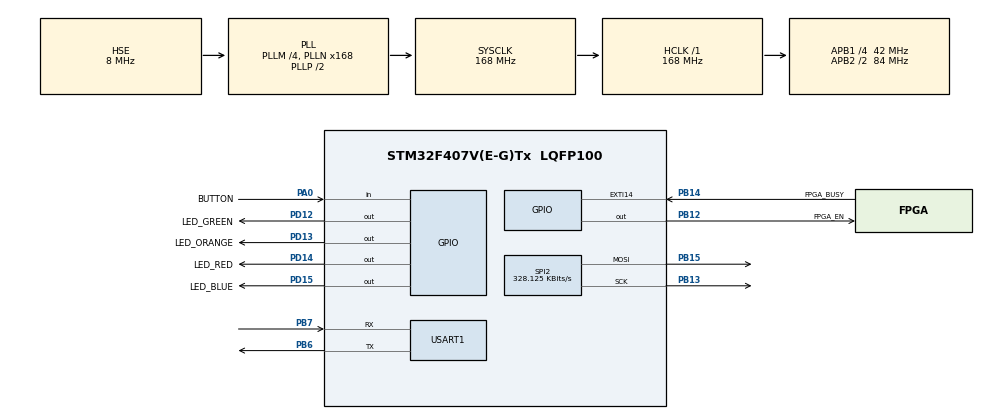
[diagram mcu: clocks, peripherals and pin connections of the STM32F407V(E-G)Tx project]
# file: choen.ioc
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Dma.Request0=SPI2_TX
Dma.Request1=USART1_RX
Dma.Request2=USART1_TX
Dma.SPI2_TX.0.Direction=DMA_MEMORY_TO_PERIPH
Dma.SPI2_TX.0.FIFOMode=DMA_FIFOMODE_DISABLE
Dma.SPI2_TX.0.Instance=DMA1_Stream4
Dma.SPI2_TX.0.MemDataAlignment=DMA_MDATAALIGN_HALFWORD
Dma.SPI2_TX.0.MemInc=DMA_MINC_ENABLE
Dma.SPI2_TX.0.Mode=DMA_NORMAL
Dma.SPI2_TX.0.PeriphDataAlignment=DMA_PDATAALIGN_HALFWORD
Dma.SPI2_TX.0.PeriphInc=DMA_PINC_DISABLE
Dma.SPI2_TX.0.Priority=DMA_PRIORITY_MEDIUM
Dma.USART1_RX.1.Direction=DMA_PERIPH_TO_MEMORY
Dma.USART1_RX.1.FIFOMode=DMA_FIFOMODE_DISABLE
Dma.USART1_RX.1.Instance=DMA2_Stream2
Dma.USART1_RX.1.MemDataAlignment=DMA_MDATAALIGN_BYTE
Dma.USART1_RX.1.MemInc=DMA_MINC_ENABLE
Dma.USART1_RX.1.Mode=DMA_NORMAL
Dma.USART1_RX.1.PeriphDataAlignment=DMA_PDATAALIGN_BYTE
Dma.USART1_RX.1.PeriphInc=DMA_PINC_DISABLE
Dma.USART1_RX.1.Priority=DMA_PRIORITY_LOW
Dma.USART1_TX.2.Direction=DMA_MEMORY_TO_PERIPH
Dma.USART1_TX.2.FIFOMode=DMA_FIFOMODE_DISABLE
Dma.USART1_TX.2.Instance=DMA2_Stream7
Dma.USART1_TX.2.MemDataAlignment=DMA_MDATAALIGN_BYTE
Dma.USART1_TX.2.MemInc=DMA_MINC_ENABLE
Dma.USART1_TX.2.Mode=DMA_NORMAL
Dma.USART1_TX.2.PeriphDataAlignment=DMA_PDATAALIGN_BYTE
Dma.USART1_TX.2.PeriphInc=DMA_PINC_DISABLE
Dma.USART1_TX.2.Priority=DMA_PRIORITY_LOW
FREERTOS.Queues01=plotter_queue,20,8,1,Dynamic,NULL,NULL
FREERTOS.Tasks01=plotter,24,512,plotter_task,Default,NULL,Dynamic,NULL,NULL;mics_job,8,128,periodic_task,Default,NULL,Dynamic,NULL,NULL
Mcu.Family=STM32F4
Mcu.Name=STM32F407V(E-G)Tx
Mcu.Package=LQFP100
NVIC.DMA1_Stream4_IRQn=true\:5\:0\:false\:false\:true\:true\:false\:true
NVIC.DMA2_Stream2_IRQn=true\:5\:0\:false\:false\:true\:true\:false\:true
NVIC.DMA2_Stream7_IRQn=true\:5\:0\:false\:false\:true\:true\:false\:true
NVIC.EXTI15_10_IRQn=true\:5\:0\:false\:false\:true\:true\:true\:true
NVIC.PriorityGroup=NVIC_PRIORITYGROUP_4
NVIC.TIM6_DAC_IRQn=true\:0\:0\:false\:false\:true\:false\:false\:true
NVIC.TimeBase=TIM6_DAC_IRQn
NVIC.TimeBaseIP=TIM6
NVIC.USART1_IRQn=true\:5\:0\:false\:false\:true\:true\:true\:true
PA0-WKUP.GPIO_Label=BUTTON
PA0-WKUP.Signal=GPIO_Input
PB12.GPIO_Label=FPGA_EN
PB12.GPIO_Speed=GPIO_SPEED_FREQ_VERY_HIGH
PB12.Signal=GPIO_Output
PB13.GPIO_PuPd=GPIO_PULLDOWN
PB13.Mode=TX_Only_Simplex_Unidirect_Master
PB13.Signal=SPI2_SCK
PB14.GPIO_Label=FPGA_BUSY
PB14.GPIO_ModeDefaultEXTI=GPIO_MODE_IT_RISING_FALLING
PB14.GPIO_PuPd=GPIO_PULLDOWN
PB14.Signal=GPXTI14
PB15.GPIO_PuPd=GPIO_PULLDOWN
PB15.Mode=TX_Only_Simplex_Unidirect_Master
PB15.Signal=SPI2_MOSI
PB6.Mode=Asynchronous
PB6.Signal=USART1_TX
PB7.Mode=Asynchronous
PB7.Signal=USART1_RX
PD12.GPIO_Label=LED_GREEN
PD12.Signal=GPIO_Output
PD13.GPIO_Label=LED_ORANGE
PD13.Signal=GPIO_Output
PD14.GPIO_Label=LED_RED
PD14.Signal=GPIO_Output
PD15.GPIO_Label=LED_BLUE
PD15.Signal=GPIO_Output
PH0-OSC_IN.Mode=HSE-External-Oscillator
PH0-OSC_IN.Signal=RCC_OSC_IN
PH1-OSC_OUT.Mode=HSE-External-Oscillator
PH1-OSC_OUT.Signal=RCC_OSC_OUT
ProjectManager.HeapSize=0x200
ProjectManager.StackSize=0x400
ProjectManager.TargetToolchain=SW4STM32
RCC.48MHZClocksFreq_Value=84000000
RCC.AHBFreq_Value=168000000
RCC.APB1CLKDivider=RCC_HCLK_DIV4
RCC.APB1Freq_Value=42000000
RCC.APB1TimFreq_Value=84000000
RCC.APB2CLKDivider=RCC_HCLK_DIV2
RCC.APB2Freq_Value=84000000
RCC.APB2TimFreq_Value=168000000
RCC.CortexFreq_Value=168000000
RCC.HCLKFreq_Value=168000000
RCC.HSE_VALUE=8000000
RCC.HSI_VALUE=16000000
RCC.LSE_VALUE=32768
RCC.PLLM=4
RCC.PLLN=168
RCC.PLLSourceVirtual=RCC_PLLSOURCE_HSE
RCC.SYSCLKFreq_VALUE=168000000
RCC.SYSCLKSource=RCC_SYSCLKSOURCE_PLLCLK
RCC.VCOOutputFreq_Value=336000000
SPI2.BaudRatePrescaler=SPI_BAUDRATEPRESCALER_128
SPI2.CLKPhase=SPI_PHASE_2EDGE
SPI2.CalculateBaudRate=328.125 KBits/s
SPI2.DataSize=SPI_DATASIZE_16BIT
SPI2.Direction=SPI_DIRECTION_2LINES
SPI2.Mode=SPI_MODE_MASTER
SPI2.VirtualType=VM_MASTER
USART1.VirtualMode=VM_ASYNC
VP_FREERTOS_VS_CMSIS_V2.Mode=CMSIS_V2
VP_SYS_VS_tim6.Mode=TIM6
board=custom

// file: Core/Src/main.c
/* USER CODE BEGIN Header */
/**
  ******************************************************************************
  * @file           : main.c
  * @brief          : Main program body
  ******************************************************************************
  * @attention
  *
  * <h2><center>&copy; Copyright (c) 2021 STMicroelectronics.
  * All rights reserved.</center></h2>
  *
  * This software component is licensed by ST under Ultimate Liberty license
  * SLA0044, the "License"; You may not use this file except in compliance with
  * the License. You may obtain a copy of the License at:
  *                             www.st.com/SLA0044
  *
  ******************************************************************************
  */
/* USER CODE END Header */
#include "main.h"
#include "cmsis_os.h"

/* USER CODE BEGIN Includes */
#include "plotter.h"
#include "gcode.h"
/* USER CODE END Includes */

/* USER CODE BEGIN PD */
#define BUTTON_FILTERTIME						10
/* USER CODE END PD */

SPI_HandleTypeDef hspi2;
DMA_HandleTypeDef hdma_spi2_tx;

UART_HandleTypeDef huart1;
DMA_HandleTypeDef hdma_usart1_rx;
DMA_HandleTypeDef hdma_usart1_tx;

/* Definitions for plotter */
osThreadId_t plotterHandle;
const osThreadAttr_t plotter_attributes = {
  .name = "plotter",
  .stack_size = 512 * 4,
  .priority = (osPriority_t) osPriorityNormal,
};
/* Definitions for mics_job */
osThreadId_t mics_jobHandle;
const osThreadAttr_t mics_job_attributes = {
  .name = "mics_job",
  .stack_size = 128 * 4,
  .priority = (osPriority_t) osPriorityLow,
};
/* Definitions for plotter_queue */
osMessageQueueId_t plotter_queueHandle;
const osMessageQueueAttr_t plotter_queue_attributes = {
  .name = "plotter_queue"
};

void SystemClock_Config(void);
static void MX_GPIO_Init(void);
static void MX_DMA_Init(void);
static void MX_SPI2_Init(void);
static void MX_USART1_UART_Init(void);
void plotter_task(void *argument);
void periodic_task(void *argument);

int main(void)
{

  /* MCU Configuration--------------------------------------------------------*/

  /* Reset of all peripherals, Initializes the Flash interface and the Systick. */
  HAL_Init();

  /* Configure the system clock */
  SystemClock_Config();

  /* Initialize all configured peripherals */
  MX_GPIO_Init();
  MX_DMA_Init();
  MX_SPI2_Init();
  MX_USART1_UART_Init();

  /* Init scheduler */
  osKernelInitialize();

  /* Create the queue(s) */
  /* creation of plotter_queue */
  plotter_queueHandle = osMessageQueueNew (20, 8, &plotter_queue_attributes);

  /* Create the thread(s) */
  /* creation of plotter */
  plotterHandle = osThreadNew(plotter_task, NULL, &plotter_attributes);

  /* creation of mics_job */
  mics_jobHandle = osThreadNew(periodic_task, NULL, &mics_job_attributes);

  /* Start scheduler */
  osKernelStart();

  /* We should never get here as control is now taken by the scheduler */
  /* Infinite loop */
  while (1)
  {

  }
}

void SystemClock_Config(void)
{
  RCC_OscInitTypeDef RCC_OscInitStruct = {0};
  RCC_ClkInitTypeDef RCC_ClkInitStruct = {0};

  /** Configure the main internal regulator output voltage
  */
  __HAL_RCC_PWR_CLK_ENABLE();
  __HAL_PWR_VOLTAGESCALING_CONFIG(PWR_REGULATOR_VOLTAGE_SCALE1);
  /** Initializes the RCC Oscillators according to the specified parameters
  * in the RCC_OscInitTypeDef structure.
  */
  RCC_OscInitStruct.OscillatorType = RCC_OSCILLATORTYPE_HSE;
  RCC_OscInitStruct.HSEState = RCC_HSE_ON;
  RCC_OscInitStruct.PLL.PLLState = RCC_PLL_ON;
  RCC_OscInitStruct.PLL.PLLSource = RCC_PLLSOURCE_HSE;
  RCC_OscInitStruct.PLL.PLLM = 4;
  RCC_OscInitStruct.PLL.PLLN = 168;
  RCC_OscInitStruct.PLL.PLLP = RCC_PLLP_DIV2;
  RCC_OscInitStruct.PLL.PLLQ = 4;
  if (HAL_RCC_OscConfig(&RCC_OscInitStruct) != HAL_OK)
  {
    Error_Handler();
  }
  /** Initializes the CPU, AHB and APB buses clocks
  */
  RCC_ClkInitStruct.ClockType = RCC_CLOCKTYPE_HCLK|RCC_CLOCKTYPE_SYSCLK
                              |RCC_CLOCKTYPE_PCLK1|RCC_CLOCKTYPE_PCLK2;
  RCC_ClkInitStruct.SYSCLKSource = RCC_SYSCLKSOURCE_PLLCLK;
  RCC_ClkInitStruct.AHBCLKDivider = RCC_SYSCLK_DIV1;
  RCC_ClkInitStruct.APB1CLKDivider = RCC_HCLK_DIV4;
  RCC_ClkInitStruct.APB2CLKDivider = RCC_HCLK_DIV2;

  if (HAL_RCC_ClockConfig(&RCC_ClkInitStruct, FLASH_LATENCY_5) != HAL_OK)
  {
    Error_Handler();
  }
}

static void MX_SPI2_Init(void)
{

  /* SPI2 parameter configuration*/
  hspi2.Instance = SPI2;
  hspi2.Init.Mode = SPI_MODE_MASTER;
  hspi2.Init.Direction = SPI_DIRECTION_2LINES;
  hspi2.Init.DataSize = SPI_DATASIZE_16BIT;
  hspi2.Init.CLKPolarity = SPI_POLARITY_LOW;
  hspi2.Init.CLKPhase = SPI_PHASE_2EDGE;
  hspi2.Init.NSS = SPI_NSS_SOFT;
  hspi2.Init.BaudRatePrescaler = SPI_BAUDRATEPRESCALER_128;
  hspi2.Init.FirstBit = SPI_FIRSTBIT_MSB;
  hspi2.Init.TIMode = SPI_TIMODE_DISABLE;
  hspi2.Init.CRCCalculation = SPI_CRCCALCULATION_DISABLE;
  hspi2.Init.CRCPolynomial = 10;
  if (HAL_SPI_Init(&hspi2) != HAL_OK)
  {
    Error_Handler();
  }
  /* USER CODE BEGIN SPI2_Init 2 */
  hspi2.TxCpltCallback = fpga_sendcplt_cb;
  /* USER CODE END SPI2_Init 2 */

}

static void MX_USART1_UART_Init(void)
{

  huart1.Instance = USART1;
  huart1.Init.BaudRate = 115200;
  huart1.Init.WordLength = UART_WORDLENGTH_8B;
  huart1.Init.StopBits = UART_STOPBITS_1;
  huart1.Init.Parity = UART_PARITY_NONE;
  huart1.Init.Mode = UART_MODE_TX_RX;
  huart1.Init.HwFlowCtl = UART_HWCONTROL_NONE;
  huart1.Init.OverSampling = UART_OVERSAMPLING_16;
  if (HAL_UART_Init(&huart1) != HAL_OK)
  {
    Error_Handler();
  }
  /* USER CODE BEGIN USART1_Init 2 */
  huart1.RxEventCallback = gcode_rcv_event_cb;
  /* USER CODE END USART1_Init 2 */

}

static void MX_DMA_Init(void)
{

  /* DMA controller clock enable */
  __HAL_RCC_DMA1_CLK_ENABLE();
  __HAL_RCC_DMA2_CLK_ENABLE();

  /* DMA interrupt init */
  /* DMA1_Stream4_IRQn interrupt configuration */
  HAL_NVIC_SetPriority(DMA1_Stream4_IRQn, 5, 0);
  HAL_NVIC_EnableIRQ(DMA1_Stream4_IRQn);
  /* DMA2_Stream2_IRQn interrupt configuration */
  HAL_NVIC_SetPriority(DMA2_Stream2_IRQn, 5, 0);
  HAL_NVIC_EnableIRQ(DMA2_Stream2_IRQn);
  /* DMA2_Stream7_IRQn interrupt configuration */
  HAL_NVIC_SetPriority(DMA2_Stream7_IRQn, 5, 0);
  HAL_NVIC_EnableIRQ(DMA2_Stream7_IRQn);

}

static void MX_GPIO_Init(void)
{
  GPIO_InitTypeDef GPIO_InitStruct = {0};

  /* GPIO Ports Clock Enable */
  __HAL_RCC_GPIOH_CLK_ENABLE();
  __HAL_RCC_GPIOA_CLK_ENABLE();
  __HAL_RCC_GPIOB_CLK_ENABLE();
  __HAL_RCC_GPIOD_CLK_ENABLE();

  /*Configure GPIO pin Output Level */
  HAL_GPIO_WritePin(FPGA_EN_GPIO_Port, FPGA_EN_Pin, GPIO_PIN_RESET);

  /*Configure GPIO pin Output Level */
  HAL_GPIO_WritePin(GPIOD, LED_GREEN_Pin|LED_ORANGE_Pin|LED_RED_Pin|LED_BLUE_Pin, GPIO_PIN_RESET);

  /*Configure GPIO pin : BUTTON_Pin */
  GPIO_InitStruct.Pin = BUTTON_Pin;
  GPIO_InitStruct.Mode = GPIO_MODE_INPUT;
  GPIO_InitStruct.Pull = GPIO_NOPULL;
  HAL_GPIO_Init(BUTTON_GPIO_Port, &GPIO_InitStruct);

  /*Configure GPIO pin : FPGA_EN_Pin */
  GPIO_InitStruct.Pin = FPGA_EN_Pin;
  GPIO_InitStruct.Mode = GPIO_MODE_OUTPUT_PP;
  GPIO_InitStruct.Pull = GPIO_NOPULL;
  GPIO_InitStruct.Speed = GPIO_SPEED_FREQ_VERY_HIGH;
  HAL_GPIO_Init(FPGA_EN_GPIO_Port, &GPIO_InitStruct);

  /*Configure GPIO pin : FPGA_BUSY_Pin */
  GPIO_InitStruct.Pin = FPGA_BUSY_Pin;
  GPIO_InitStruct.Mode = GPIO_MODE_IT_RISING_FALLING;
  GPIO_InitStruct.Pull = GPIO_PULLDOWN;
  HAL_GPIO_Init(FPGA_BUSY_GPIO_Port, &GPIO_InitStruct);

  /*Configure GPIO pins : LED_GREEN_Pin LED_ORANGE_Pin LED_RED_Pin LED_BLUE_Pin */
  GPIO_InitStruct.Pin = LED_GREEN_Pin|LED_ORANGE_Pin|LED_RED_Pin|LED_BLUE_Pin;
  GPIO_InitStruct.Mode = GPIO_MODE_OUTPUT_PP;
  GPIO_InitStruct.Pull = GPIO_NOPULL;
  GPIO_InitStruct.Speed = GPIO_SPEED_FREQ_LOW;
  HAL_GPIO_Init(GPIOD, &GPIO_InitStruct);

  /* EXTI interrupt init*/
  HAL_NVIC_SetPriority(EXTI15_10_IRQn, 5, 0);
  HAL_NVIC_EnableIRQ(EXTI15_10_IRQn);

}

void plotter_task(void *argument)
{
  /* USER CODE BEGIN 5 */
	plotter_main();
  /* USER CODE END 5 */
}

void periodic_task(void *argument)
{
  /* USER CODE BEGIN periodic_task */
	uint8_t eventcnt = 0;
	bool flag = false;
	/* Infinite loop */
	for(;;)
	{
		/* task execute very 10 ms*/
		osDelay(10);
		if (GPIO_PIN_SET == HAL_GPIO_ReadPin(GPIOA, GPIO_PIN_0))
		{
			eventcnt++;
		}
		else
		{
			eventcnt = 0;
		}

		if (eventcnt > BUTTON_FILTERTIME)
		{
			/* button pressed detected */
			if (false == flag)
			{
				fpga_enable();
				pl_enable();
				LED_RED_OFF();
				flag = true;
			}
			else
			{
				fpga_disable();
				pl_disable();
				flag = false;
			}
			eventcnt = 0;
		}

		fpga_sts_periodic();
	}
  /* USER CODE END periodic_task */
}

 /**
  * @brief  Period elapsed callback in non blocking mode
  * @note   This function is called  when TIM6 interrupt took place, inside
  * HAL_TIM_IRQHandler(). It makes a direct call to HAL_IncTick() to increment
  * a global variable "uwTick" used as application time base.
  * @param  htim : TIM handle
  * @retval None
  */
void HAL_TIM_PeriodElapsedCallback(TIM_HandleTypeDef *htim)
{
  if (htim->Instance == TIM6) {
    HAL_IncTick();
  }
}

void Error_Handler(void)
{
  __disable_irq();
  while (1)
  {
  }
}

/************************ (C) COPYRIGHT STMicroelectronics *****END OF FILE****/
